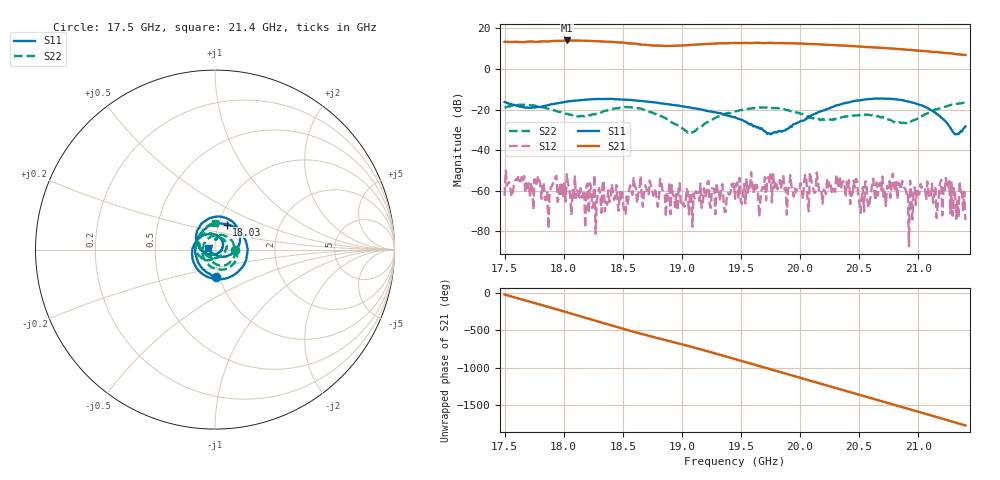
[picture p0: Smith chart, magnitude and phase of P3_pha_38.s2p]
!Created with skrf (http://scikit-rf.org).
# GHz S RI R 50.0
!freq ReS11 ImS11 ReS21 ImS21 ReS12 ImS12 ReS22 ImS22
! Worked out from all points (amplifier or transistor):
!   401 points, 17.5 GHz to 21.4 GHz, reference 50 ohm
!   highest |S21| = 14.0 dB at 18.03 GHz (marker M1)
!   |S21| within 3 dB of that: start of sweep to 20.51 GHz
!   unconditionally stable (mu >= 1): start of sweep to end of sweep
!   at 18.14 GHz: K = 84.37, MAG = 14.1 dB, |S12| = -58.8 dB
!   at 19.45 GHz: K = 178.78, MAG = 12.8 dB, |S12| = -64.0 dB
!   at 21.4 GHz: K = 1173.54, MAG = 6.9 dB, |S12| = -74.5 dB
!   S11 on the Smith chart (normalised r, x): 17.5 GHz: 0.96, -0.30; 18.03 GHz: 1.09, +0.31; 21.4 GHz: 0.93, +0.01
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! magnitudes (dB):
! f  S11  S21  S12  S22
! 17.5 GHz  -16.3  13.3  -62.5  -19.2
! 17.77 GHz  -18.9  13.3  -56.0  -18.3
! 17.86 GHz  -18.0  13.5  -60.8  -19.5
! 17.92 GHz  -17.3  13.8  -56.2  -20.4
! 18.03 GHz  -16.2  14.0  -51.8  -22.1
! 18.15 GHz  -15.4  13.9  -63.4  -23.2
! 18.52 GHz  -15.2  12.8  -71.4  -18.9
! 18.58 GHz  -15.4  12.5  -62.1  -19.0
! 18.81 GHz  -16.8  11.5  -63.7  -23.0
! 19.07 GHz  -19.1  11.8  -61.2  -31.3
! 19.45 GHz  -23.8  12.8  -64.0  -21.0
! 19.66 GHz  -29.6  12.8  -65.1  -19.1
! 19.74 GHz  -31.7  12.9  -55.8  -18.9
! 20.1 GHz  -22.6  12.2  -57.3  -24.3
! 20.47 GHz  -15.8  11.2  -54.1  -23.0
! 20.52 GHz  -15.4  10.9  -62.6  -22.5
! 20.76 GHz  -14.7  10.1  -55.3  -25.1
! 20.94 GHz  -16.4  9.3  -61.9  -25.8
! 21.24 GHz  -26.6  7.8  -57.2  -18.4
! 21.31 GHz  -32.2  7.4  -60.9  -17.4
! 21.37 GHz  -30.9  7.0  -60.5  -16.8
! 21.4 GHz  -28.3  6.8  -74.5  -16.5
